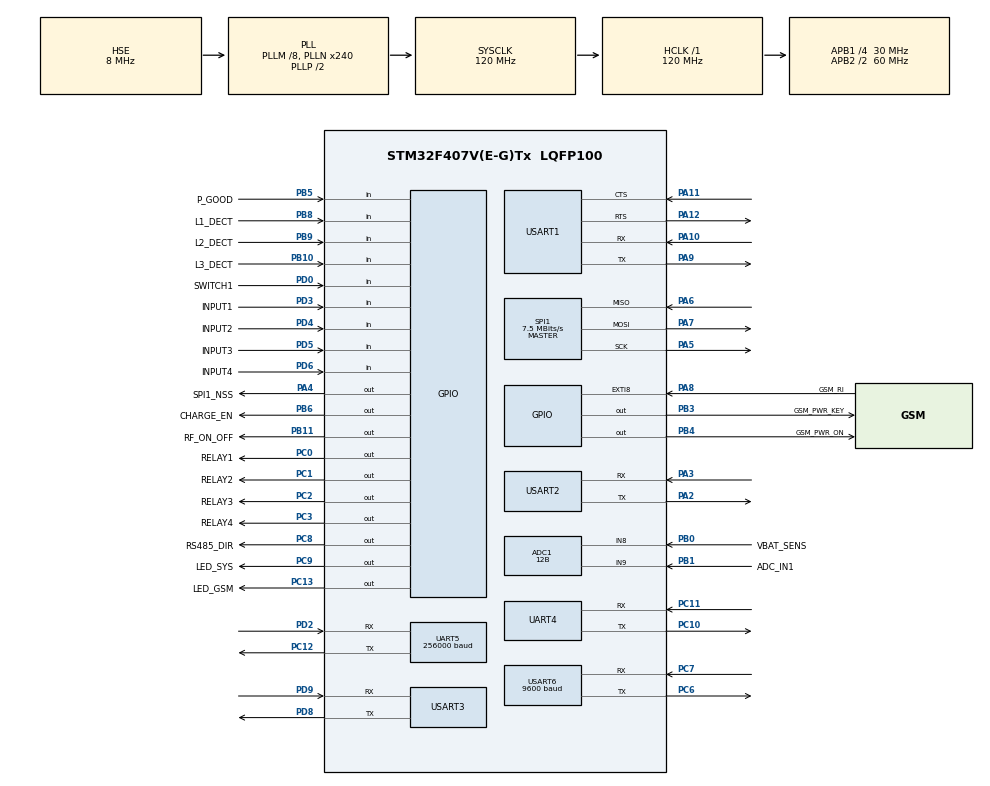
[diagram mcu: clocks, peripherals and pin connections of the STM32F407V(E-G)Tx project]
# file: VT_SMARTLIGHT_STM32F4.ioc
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ADC1.Channel-0\#ChannelRegularConversion=ADC_CHANNEL_8
ADC1.Channel-1\#ChannelRegularConversion=ADC_CHANNEL_8
ADC1.ClockPrescaler=ADC_CLOCK_SYNC_PCLK_DIV8
ADC1.ContinuousConvMode=ENABLE
ADC1.DMAContinuousRequests=ENABLE
ADC1.DataAlign=ADC_DATAALIGN_RIGHT
ADC1.DiscontinuousConvMode=DISABLE
ADC1.EOCSelection=ADC_EOC_SEQ_CONV
ADC1.EnableAnalogWatchDog=true
ADC1.ExternalTrigConv=ADC_SOFTWARE_START
ADC1.ExternalTrigConvEdge=ADC_EXTERNALTRIGCONVEDGE_NONE
ADC1.HighThreshold=0
ADC1.ITMode=DISABLE
ADC1.InjNumberOfConversion=0
ADC1.LowThreshold=0
ADC1.NbrOfConversion=2
ADC1.NbrOfConversionFlag=1
ADC1.Rank-0\#ChannelRegularConversion=1
ADC1.Rank-1\#ChannelRegularConversion=2
ADC1.Resolution=ADC_RESOLUTION_12B
ADC1.SamplingTime-0\#ChannelRegularConversion=ADC_SAMPLETIME_480CYCLES
ADC1.SamplingTime-1\#ChannelRegularConversion=ADC_SAMPLETIME_480CYCLES
ADC1.ScanConvMode=ENABLE
ADC1.WatchdogChannel=ADC_CHANNEL_8
ADC1.WatchdogMode=ADC_ANALOGWATCHDOG_SINGLE_REG
ADC1.master=1
Dma.ADC1.12.Direction=DMA_PERIPH_TO_MEMORY
Dma.ADC1.12.FIFOMode=DMA_FIFOMODE_DISABLE
Dma.ADC1.12.Instance=DMA2_Stream0
Dma.ADC1.12.MemDataAlignment=DMA_MDATAALIGN_HALFWORD
Dma.ADC1.12.MemInc=DMA_MINC_ENABLE
Dma.ADC1.12.Mode=DMA_NORMAL
Dma.ADC1.12.PeriphDataAlignment=DMA_PDATAALIGN_HALFWORD
Dma.ADC1.12.PeriphInc=DMA_PINC_DISABLE
Dma.ADC1.12.Priority=DMA_PRIORITY_LOW
Dma.Request0=UART4_RX
Dma.Request1=UART4_TX
Dma.Request10=USART6_RX
Dma.Request11=USART6_TX
Dma.Request12=ADC1
Dma.Request2=UART5_TX
Dma.Request3=UART5_RX
Dma.Request4=USART1_TX
Dma.Request5=USART1_RX
Dma.Request6=USART2_RX
Dma.Request7=USART2_TX
Dma.Request8=USART3_RX
Dma.Request9=USART3_TX
Dma.UART4_RX.0.Direction=DMA_PERIPH_TO_MEMORY
Dma.UART4_RX.0.FIFOMode=DMA_FIFOMODE_DISABLE
Dma.UART4_RX.0.Instance=DMA1_Stream2
Dma.UART4_RX.0.MemDataAlignment=DMA_MDATAALIGN_BYTE
Dma.UART4_RX.0.MemInc=DMA_MINC_ENABLE
Dma.UART4_RX.0.Mode=DMA_CIRCULAR
Dma.UART4_RX.0.PeriphDataAlignment=DMA_PDATAALIGN_BYTE
Dma.UART4_RX.0.PeriphInc=DMA_PINC_DISABLE
Dma.UART4_RX.0.Priority=DMA_PRIORITY_LOW
Dma.UART4_TX.1.Direction=DMA_MEMORY_TO_PERIPH
Dma.UART4_TX.1.FIFOMode=DMA_FIFOMODE_DISABLE
Dma.UART4_TX.1.Instance=DMA1_Stream4
Dma.UART4_TX.1.MemDataAlignment=DMA_MDATAALIGN_BYTE
Dma.UART4_TX.1.MemInc=DMA_MINC_ENABLE
Dma.UART4_TX.1.Mode=DMA_NORMAL
Dma.UART4_TX.1.PeriphDataAlignment=DMA_PDATAALIGN_BYTE
Dma.UART4_TX.1.PeriphInc=DMA_PINC_DISABLE
Dma.UART4_TX.1.Priority=DMA_PRIORITY_LOW
Dma.UART5_RX.3.Direction=DMA_PERIPH_TO_MEMORY
Dma.UART5_RX.3.FIFOMode=DMA_FIFOMODE_DISABLE
Dma.UART5_RX.3.Instance=DMA1_Stream0
Dma.UART5_RX.3.MemDataAlignment=DMA_MDATAALIGN_BYTE
Dma.UART5_RX.3.MemInc=DMA_MINC_ENABLE
Dma.UART5_RX.3.Mode=DMA_CIRCULAR
Dma.UART5_RX.3.PeriphDataAlignment=DMA_PDATAALIGN_BYTE
Dma.UART5_RX.3.PeriphInc=DMA_PINC_DISABLE
Dma.UART5_RX.3.Priority=DMA_PRIORITY_LOW
Dma.UART5_TX.2.Direction=DMA_MEMORY_TO_PERIPH
Dma.UART5_TX.2.FIFOMode=DMA_FIFOMODE_DISABLE
Dma.UART5_TX.2.Instance=DMA1_Stream7
Dma.UART5_TX.2.MemDataAlignment=DMA_MDATAALIGN_BYTE
Dma.UART5_TX.2.MemInc=DMA_MINC_ENABLE
Dma.UART5_TX.2.Mode=DMA_NORMAL
Dma.UART5_TX.2.PeriphDataAlignment=DMA_PDATAALIGN_BYTE
Dma.UART5_TX.2.PeriphInc=DMA_PINC_DISABLE
Dma.UART5_TX.2.Priority=DMA_PRIORITY_LOW
Dma.USART1_RX.5.Direction=DMA_PERIPH_TO_MEMORY
Dma.USART1_RX.5.FIFOMode=DMA_FIFOMODE_DISABLE
Dma.USART1_RX.5.Instance=DMA2_Stream2
Dma.USART1_RX.5.MemDataAlignment=DMA_MDATAALIGN_BYTE
Dma.USART1_RX.5.MemInc=DMA_MINC_ENABLE
Dma.USART1_RX.5.Mode=DMA_CIRCULAR
Dma.USART1_RX.5.PeriphDataAlignment=DMA_PDATAALIGN_BYTE
Dma.USART1_RX.5.PeriphInc=DMA_PINC_DISABLE
Dma.USART1_RX.5.Priority=DMA_PRIORITY_HIGH
Dma.USART1_TX.4.Direction=DMA_MEMORY_TO_PERIPH
Dma.USART1_TX.4.FIFOMode=DMA_FIFOMODE_DISABLE
Dma.USART1_TX.4.Instance=DMA2_Stream7
Dma.USART1_TX.4.MemDataAlignment=DMA_MDATAALIGN_BYTE
Dma.USART1_TX.4.MemInc=DMA_MINC_ENABLE
Dma.USART1_TX.4.Mode=DMA_NORMAL
Dma.USART1_TX.4.PeriphDataAlignment=DMA_PDATAALIGN_BYTE
Dma.USART1_TX.4.PeriphInc=DMA_PINC_DISABLE
Dma.USART1_TX.4.Priority=DMA_PRIORITY_HIGH
Dma.USART2_RX.6.Direction=DMA_PERIPH_TO_MEMORY
Dma.USART2_RX.6.FIFOMode=DMA_FIFOMODE_DISABLE
Dma.USART2_RX.6.Instance=DMA1_Stream5
Dma.USART2_RX.6.MemDataAlignment=DMA_MDATAALIGN_BYTE
Dma.USART2_RX.6.MemInc=DMA_MINC_ENABLE
Dma.USART2_RX.6.Mode=DMA_CIRCULAR
Dma.USART2_RX.6.PeriphDataAlignment=DMA_PDATAALIGN_BYTE
Dma.USART2_RX.6.PeriphInc=DMA_PINC_DISABLE
Dma.USART2_RX.6.Priority=DMA_PRIORITY_LOW
Dma.USART2_TX.7.Direction=DMA_MEMORY_TO_PERIPH
Dma.USART2_TX.7.FIFOMode=DMA_FIFOMODE_DISABLE
Dma.USART2_TX.7.Instance=DMA1_Stream6
Dma.USART2_TX.7.MemDataAlignment=DMA_MDATAALIGN_BYTE
Dma.USART2_TX.7.MemInc=DMA_MINC_ENABLE
Dma.USART2_TX.7.Mode=DMA_NORMAL
Dma.USART2_TX.7.PeriphDataAlignment=DMA_PDATAALIGN_BYTE
Dma.USART2_TX.7.PeriphInc=DMA_PINC_DISABLE
Dma.USART2_TX.7.Priority=DMA_PRIORITY_LOW
Dma.USART3_RX.8.Direction=DMA_PERIPH_TO_MEMORY
Dma.USART3_RX.8.FIFOMode=DMA_FIFOMODE_DISABLE
Dma.USART3_RX.8.Instance=DMA1_Stream1
Dma.USART3_RX.8.MemDataAlignment=DMA_MDATAALIGN_BYTE
Dma.USART3_RX.8.MemInc=DMA_MINC_ENABLE
Dma.USART3_RX.8.Mode=DMA_CIRCULAR
Dma.USART3_RX.8.PeriphDataAlignment=DMA_PDATAALIGN_BYTE
Dma.USART3_RX.8.PeriphInc=DMA_PINC_DISABLE
Dma.USART3_RX.8.Priority=DMA_PRIORITY_LOW
Dma.USART3_TX.9.Direction=DMA_MEMORY_TO_PERIPH
Dma.USART3_TX.9.FIFOMode=DMA_FIFOMODE_DISABLE
Dma.USART3_TX.9.Instance=DMA1_Stream3
Dma.USART3_TX.9.MemDataAlignment=DMA_MDATAALIGN_BYTE
Dma.USART3_TX.9.MemInc=DMA_MINC_ENABLE
Dma.USART3_TX.9.Mode=DMA_NORMAL
Dma.USART3_TX.9.PeriphDataAlignment=DMA_PDATAALIGN_BYTE
Dma.USART3_TX.9.PeriphInc=DMA_PINC_DISABLE
Dma.USART3_TX.9.Priority=DMA_PRIORITY_LOW
Dma.USART6_RX.10.Direction=DMA_PERIPH_TO_MEMORY
Dma.USART6_RX.10.FIFOMode=DMA_FIFOMODE_DISABLE
Dma.USART6_RX.10.Instance=DMA2_Stream1
Dma.USART6_RX.10.MemDataAlignment=DMA_MDATAALIGN_BYTE
Dma.USART6_RX.10.MemInc=DMA_MINC_ENABLE
Dma.USART6_RX.10.Mode=DMA_CIRCULAR
Dma.USART6_RX.10.PeriphDataAlignment=DMA_PDATAALIGN_BYTE
Dma.USART6_RX.10.PeriphInc=DMA_PINC_DISABLE
Dma.USART6_RX.10.Priority=DMA_PRIORITY_LOW
Dma.USART6_TX.11.Direction=DMA_MEMORY_TO_PERIPH
Dma.USART6_TX.11.FIFOMode=DMA_FIFOMODE_DISABLE
Dma.USART6_TX.11.Instance=DMA2_Stream6
Dma.USART6_TX.11.MemDataAlignment=DMA_MDATAALIGN_BYTE
Dma.USART6_TX.11.MemInc=DMA_MINC_ENABLE
Dma.USART6_TX.11.Mode=DMA_NORMAL
Dma.USART6_TX.11.PeriphDataAlignment=DMA_PDATAALIGN_BYTE
Dma.USART6_TX.11.PeriphInc=DMA_PINC_DISABLE
Dma.USART6_TX.11.Priority=DMA_PRIORITY_LOW
FREERTOS.INCLUDE_eTaskGetState=1
FREERTOS.INCLUDE_pcTaskGetTaskName=1
FREERTOS.INCLUDE_vTaskDelayUntil=1
FREERTOS.INCLUDE_xTaskGetCurrentTaskHandle=1
FREERTOS.Tasks01=defaultTask,0,1024,StartDefaultTask,Default,NULL,Dynamic,NULL,NULL
FREERTOS.configCHECK_FOR_STACK_OVERFLOW=2
FREERTOS.configGENERATE_RUN_TIME_STATS=1
FREERTOS.configTOTAL_HEAP_SIZE=63488
FREERTOS.configUSE_COUNTING_SEMAPHORES=1
FREERTOS.configUSE_IDLE_HOOK=1
FREERTOS.configUSE_MALLOC_FAILED_HOOK=1
FREERTOS.configUSE_RECURSIVE_MUTEXES=1
FREERTOS.configUSE_STATS_FORMATTING_FUNCTIONS=1
FREERTOS.configUSE_TICK_HOOK=1
FREERTOS.configUSE_TRACE_FACILITY=1
Mcu.Family=STM32F4
Mcu.Name=STM32F407V(E-G)Tx
Mcu.Package=LQFP100
Mcu.UserConstants=configAPPLICATION_ALLOCATED_HEAP,1
NVIC.DMA1_Stream0_IRQn=true\:5\:0\:false\:false\:true\:true\:false
NVIC.DMA1_Stream1_IRQn=true\:5\:0\:false\:false\:true\:true\:false
NVIC.DMA1_Stream2_IRQn=true\:5\:0\:false\:false\:true\:true\:false
NVIC.DMA1_Stream3_IRQn=true\:5\:0\:false\:false\:true\:true\:false
NVIC.DMA1_Stream4_IRQn=true\:5\:0\:false\:false\:true\:true\:false
NVIC.DMA1_Stream5_IRQn=true\:5\:0\:false\:false\:true\:true\:false
NVIC.DMA1_Stream6_IRQn=true\:5\:0\:false\:false\:true\:true\:false
NVIC.DMA1_Stream7_IRQn=true\:5\:0\:false\:false\:true\:true\:false
NVIC.DMA2_Stream0_IRQn=true\:5\:0\:false\:false\:true\:true\:false
NVIC.DMA2_Stream1_IRQn=true\:5\:0\:false\:false\:true\:true\:false
NVIC.DMA2_Stream2_IRQn=true\:5\:0\:false\:false\:true\:true\:false
NVIC.DMA2_Stream6_IRQn=true\:5\:0\:false\:false\:true\:true\:false
NVIC.DMA2_Stream7_IRQn=true\:5\:0\:false\:false\:true\:true\:false
NVIC.EXTI9_5_IRQn=true\:5\:0\:false\:false\:true\:true\:true
NVIC.PriorityGroup=NVIC_PRIORITYGROUP_4
NVIC.RTC_Alarm_IRQn=true\:0\:0\:false\:false\:true\:false\:true
NVIC.TIM1_UP_TIM10_IRQn=true\:0\:0\:false\:false\:true\:false\:false
NVIC.TimeBase=TIM1_UP_TIM10_IRQn
NVIC.TimeBaseIP=TIM1
NVIC.UART4_IRQn=true\:5\:0\:false\:false\:true\:true\:true
NVIC.UART5_IRQn=true\:5\:0\:false\:false\:true\:true\:true
NVIC.USART1_IRQn=true\:5\:0\:false\:false\:true\:true\:true
NVIC.USART2_IRQn=true\:5\:0\:false\:false\:true\:true\:true
NVIC.USART3_IRQn=true\:5\:0\:false\:false\:true\:true\:true
NVIC.USART6_IRQn=true\:5\:0\:false\:false\:true\:true\:true
PA10.Mode=Asynchronous
PA10.Signal=USART1_RX
PA11.Mode=CTS_RTS
PA11.Signal=USART1_CTS
PA12.Mode=CTS_RTS
PA12.Signal=USART1_RTS
PA13.Mode=Serial_Wire
PA13.Signal=SYS_JTMS-SWDIO
PA14.Mode=Serial_Wire
PA14.Signal=SYS_JTCK-SWCLK
PA2.Mode=Asynchronous
PA2.Signal=USART2_TX
PA3.Mode=Asynchronous
PA3.Signal=USART2_RX
PA4.GPIO_Label=SPI1_NSS
PA4.GPIO_Speed=GPIO_SPEED_FREQ_VERY_HIGH
PA4.PinState=GPIO_PIN_SET
PA4.Signal=GPIO_Output
PA5.Mode=Full_Duplex_Master
PA5.Signal=SPI1_SCK
PA6.GPIO_PuPd=GPIO_PULLUP
PA6.Mode=Full_Duplex_Master
PA6.Signal=SPI1_MISO
PA7.Mode=Full_Duplex_Master
PA7.Signal=SPI1_MOSI
PA8.GPIO_Label=GSM_RI
PA8.GPIO_ModeDefaultEXTI=GPIO_MODE_IT_FALLING
PA8.GPIO_PuPd=GPIO_PULLUP
PA8.Signal=GPXTI8
PA9.Mode=Asynchronous
PA9.Signal=USART1_TX
PB0.GPIO_Label=VBAT_SENS
PB0.Signal=ADCx_IN8
PB1.GPIO_Label=ADC_IN1
PB1.Signal=ADCx_IN9
PB10.GPIO_Label=L3_DECT
PB10.Signal=GPIO_Input
PB11.GPIO_Label=RF_ON_OFF
PB11.Signal=GPIO_Output
PB3.GPIO_Label=GSM_PWR_KEY
PB3.Signal=GPIO_Output
PB4.GPIO_Label=GSM_PWR_ON
PB4.PinState=GPIO_PIN_SET
PB4.Signal=GPIO_Output
PB5.GPIO_Label=P_GOOD
PB5.Signal=GPIO_Input
PB6.GPIO_Label=CHARGE_EN
PB6.Signal=GPIO_Output
PB8.GPIO_Label=L1_DECT
PB8.Signal=GPIO_Input
PB9.GPIO_Label=L2_DECT
PB9.Signal=GPIO_Input
PC0.GPIO_Label=RELAY1
PC0.Signal=GPIO_Output
PC1.GPIO_Label=RELAY2
PC1.Signal=GPIO_Output
PC10.Mode=Asynchronous
PC10.Signal=UART4_TX
PC11.Mode=Asynchronous
PC11.Signal=UART4_RX
PC12.Mode=Asynchronous
PC12.Signal=UART5_TX
PC13-ANTI_TAMP.GPIO_Label=LED_GSM
PC13-ANTI_TAMP.Signal=GPIO_Output
PC14-OSC32_IN.Mode=LSE-External-Oscillator
PC14-OSC32_IN.Signal=RCC_OSC32_IN
PC15-OSC32_OUT.Mode=LSE-External-Oscillator
PC15-OSC32_OUT.Signal=RCC_OSC32_OUT
PC2.GPIO_Label=RELAY3
PC2.Signal=GPIO_Output
PC3.GPIO_Label=RELAY4
PC3.Signal=GPIO_Output
PC6.Mode=Asynchronous
PC6.Signal=USART6_TX
PC7.Mode=Asynchronous
PC7.Signal=USART6_RX
PC8.GPIO_Label=RS485_DIR
PC8.Signal=GPIO_Output
PC9.GPIO_Label=LED_SYS
PC9.Signal=GPIO_Output
PD0.GPIO_Label=SWITCH1
PD0.Signal=GPIO_Input
PD2.Mode=Asynchronous
PD2.Signal=UART5_RX
PD3.GPIO_Label=INPUT1
PD3.Signal=GPIO_Input
PD4.GPIO_Label=INPUT2
PD4.Signal=GPIO_Input
PD5.GPIO_Label=INPUT3
PD5.Signal=GPIO_Input
PD6.GPIO_Label=INPUT4
PD6.Signal=GPIO_Input
PD8.Mode=Asynchronous
PD8.Signal=USART3_TX
PD9.Mode=Asynchronous
PD9.Signal=USART3_RX
PH0-OSC_IN.Mode=HSE-External-Oscillator
PH0-OSC_IN.Signal=RCC_OSC_IN
PH1-OSC_OUT.Mode=HSE-External-Oscillator
PH1-OSC_OUT.Signal=RCC_OSC_OUT
ProjectManager.HeapSize=0x10000
ProjectManager.StackSize=0x1000
ProjectManager.TargetToolchain=MDK-ARM V5
RCC.48MHZClocksFreq_Value=48000000
RCC.AHBFreq_Value=120000000
RCC.APB1CLKDivider=RCC_HCLK_DIV4
RCC.APB1Freq_Value=30000000
RCC.APB1TimFreq_Value=60000000
RCC.APB2CLKDivider=RCC_HCLK_DIV2
RCC.APB2Freq_Value=60000000
RCC.APB2TimFreq_Value=120000000
RCC.CortexFreq_Value=120000000
RCC.HCLKFreq_Value=120000000
RCC.HSE_VALUE=8000000
RCC.HSI_VALUE=16000000
RCC.PLLM=8
RCC.PLLN=240
RCC.PLLQ=5
RCC.PLLSourceVirtual=RCC_PLLSOURCE_HSE
RCC.RCC_RTC_Clock_Source=RCC_RTCCLKSOURCE_LSE
RCC.RCC_RTC_Clock_SourceVirtual=RCC_RTCCLKSOURCE_LSE
RCC.SYSCLKFreq_VALUE=120000000
RCC.SYSCLKSource=RCC_SYSCLKSOURCE_PLLCLK
RCC.VCOOutputFreq_Value=240000000
RTC.Alarm=RTC_ALARM_A
RTC.Date=9
RTC.Format=RTC_FORMAT_BIN
RTC.Month=RTC_MONTH_NOVEMBER
RTC.WeekDay=RTC_WEEKDAY_THURSDAY
RTC.Year=17
SH.ADCx_IN8.0=ADC1_IN8,IN8
SH.ADCx_IN9.0=ADC1_IN9,IN9
SPI1.BaudRatePrescaler=SPI_BAUDRATEPRESCALER_8
SPI1.CalculateBaudRate=7.5 MBits/s
SPI1.Direction=SPI_DIRECTION_2LINES
SPI1.Mode=SPI_MODE_MASTER
SPI1.VirtualType=VM_MASTER
UART4.VirtualMode=Asynchronous
UART5.BaudRate=256000
UART5.VirtualMode=Asynchronous
USART1.VirtualMode=VM_ASYNC
USART2.VirtualMode=VM_ASYNC
USART3.VirtualMode=VM_ASYNC
USART6.BaudRate=9600
USART6.VirtualMode=VM_ASYNC
VP_FREERTOS_VS_ENABLE.Mode=Enabled
VP_IWDG_VS_IWDG.Mode=IWDG_Activate
VP_RNG_VS_RNG.Mode=RNG_Activate
VP_RTC_VS_RTC_Activate.Mode=RTC_Enabled
VP_RTC_VS_RTC_Alarm_A_Intern.Mode=Alarm A
VP_RTC_VS_RTC_Calendar.Mode=RTC_Calendar
VP_SYS_VS_tim1.Mode=TIM1
board=VT_SMARTLIGHT_STM32F4

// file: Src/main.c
/**
  ******************************************************************************
  * File Name          : main.c
  * Description        : Main program body
  ******************************************************************************
  * This notice applies to any and all portions of this file
  * that are not between comment pairs USER CODE BEGIN and
  * USER CODE END. Other portions of this file, whether
  * inserted by the user or by software development tools
  * are owned by their respective copyright owners.
  *
  * Copyright (c) 2018 STMicroelectronics International N.V.
  * All rights reserved.
  *
  * Redistribution and use in source and binary forms, with or without
  * modification, are permitted, provided that the following conditions are met:
  *
  * 1. Redistribution of source code must retain the above copyright notice,
  *    this list of conditions and the following disclaimer.
  * 2. Redistributions in binary form must reproduce the above copyright notice,
  *    this list of conditions and the following disclaimer in the documentation
  *    and/or other materials provided with the distribution.
  * 3. Neither the name of STMicroelectronics nor the names of other
  *    contributors to this software may be used to endorse or promote products
  *    derived from this software without specific written permission.
  * 4. This software, including modifications and/or derivative works of this
  *    software, must execute solely and exclusively on microcontroller or
  *    microprocessor devices manufactured by or for STMicroelectronics.
  * 5. Redistribution and use of this software other than as permitted under
  *    this license is void and will automatically terminate your rights under
  *    this license.
  *
  * THIS SOFTWARE IS PROVIDED BY STMICROELECTRONICS AND CONTRIBUTORS "AS IS"
  * AND ANY EXPRESS, IMPLIED OR STATUTORY WARRANTIES, INCLUDING, BUT NOT
  * LIMITED TO, THE IMPLIED WARRANTIES OF MERCHANTABILITY, FITNESS FOR A
  * PARTICULAR PURPOSE AND NON-INFRINGEMENT OF THIRD PARTY INTELLECTUAL PROPERTY
  * RIGHTS ARE DISCLAIMED TO THE FULLEST EXTENT PERMITTED BY LAW. IN NO EVENT
  * SHALL STMICROELECTRONICS OR CONTRIBUTORS BE LIABLE FOR ANY DIRECT, INDIRECT,
  * INCIDENTAL, SPECIAL, EXEMPLARY, OR CONSEQUENTIAL DAMAGES (INCLUDING, BUT NOT
  * LIMITED TO, PROCUREMENT OF SUBSTITUTE GOODS OR SERVICES; LOSS OF USE, DATA,
  * OR PROFITS; OR BUSINESS INTERRUPTION) HOWEVER CAUSED AND ON ANY THEORY OF
  * LIABILITY, WHETHER IN CONTRACT, STRICT LIABILITY, OR TORT (INCLUDING
  * NEGLIGENCE OR OTHERWISE) ARISING IN ANY WAY OUT OF THE USE OF THIS SOFTWARE,
  * EVEN IF ADVISED OF THE POSSIBILITY OF SUCH DAMAGE.
  *
  ******************************************************************************
  */

#include "main.h"
#include "stm32f4xx_hal.h"
#include "cmsis_os.h"

/* USER CODE BEGIN Includes */
#include "uart1.h"
#include "uart5.h"
#include "lib/sys_time.h"
#include "system_config.h"
#include "ampm_gsm_main_task.h"
#include "hw_config.h"
#include "lib/sys_time.h"
#include "ntp_server.h"
#include "smartlight.h"
/* FreeRTOS+Trace includes. */
#include "trcUser.h"
#include "watchdog.h"
#include "sha256.h"
#include "relay.h"
#include "led.h"
#include "test_spiffs.h"
#include "uart_config_task.h"
/* USER CODE END Includes */

ADC_HandleTypeDef hadc1;
DMA_HandleTypeDef hdma_adc1;

IWDG_HandleTypeDef hiwdg;

RNG_HandleTypeDef hrng;

RTC_HandleTypeDef hrtc;
RTC_TimeTypeDef sTime;
RTC_DateTypeDef sDate;

SPI_HandleTypeDef hspi1;

UART_HandleTypeDef huart4;
UART_HandleTypeDef huart5;
UART_HandleTypeDef huart1;
UART_HandleTypeDef huart2;
UART_HandleTypeDef huart3;
UART_HandleTypeDef huart6;
DMA_HandleTypeDef hdma_uart4_rx;
DMA_HandleTypeDef hdma_uart4_tx;
DMA_HandleTypeDef hdma_uart5_tx;
DMA_HandleTypeDef hdma_uart5_rx;
DMA_HandleTypeDef hdma_usart1_tx;
DMA_HandleTypeDef hdma_usart1_rx;
DMA_HandleTypeDef hdma_usart2_rx;
DMA_HandleTypeDef hdma_usart2_tx;
DMA_HandleTypeDef hdma_usart3_rx;
DMA_HandleTypeDef hdma_usart3_tx;
DMA_HandleTypeDef hdma_usart6_rx;
DMA_HandleTypeDef hdma_usart6_tx;

osThreadId defaultTaskHandle;

/* USER CODE BEGIN PV */
/* Private variables ---------------------------------------------------------*/
osSemaphoreDef(PUTC);
osSemaphoreDef(PRINTF);
osSemaphoreDef(AWS_SYNC);
/* USER CODE END PV */

void SystemClock_Config(void);
static void MX_GPIO_Init(void);
static void MX_DMA_Init(void);
static void MX_ADC1_Init(void);
static void MX_IWDG_Init(void);
static void MX_RNG_Init(void);
static void MX_RTC_Init(void);
static void MX_UART4_Init(void);
static void MX_UART5_Init(void);
static void MX_USART1_UART_Init(void);
static void MX_USART2_UART_Init(void);
static void MX_USART3_UART_Init(void);
static void MX_USART6_UART_Init(void);
static void MX_SPI1_Init(void);
void StartDefaultTask(void const * argument);

/* USER CODE BEGIN PFP */
extern void vUARTCommandConsoleStart( uint16_t usStackSize, UBaseType_t uxPriority );
extern void vRegisterCLICommands( void );
/* Private function prototypes -----------------------------------------------*/
uint8_t ucHeap[ configTOTAL_HEAP_SIZE ] __attribute__ ((__section__("osRam")));
osSemaphoreId putc_sem_id;
osSemaphoreId mprintf_sem_id;
osSemaphoreId aws_sem_id;
uint32_t life_span = 0;

int fputc_stdout( int iChar, FILE *f )
{
		if(f == stdout)
		{
			if(osSemaphoreWait(putc_sem_id, 100) == osOK)
			{
				if(!uart5_config_enable)
					mUART5_PutChar(iChar);
			}
			osSemaphoreRelease(putc_sem_id);
		}
  	return( iChar );
}

//int  m_printf(const uint8_t *format, ...)
//{
//	if(osSemaphoreWait(mprintf_sem_id, 500) == osOK)
//	{
//		static  uint8_t  buffer[512];
//		uint16_t len = 0,i;
//		__va_list     vArgs;
//		__va_start(vArgs, format);
//		len = sprintf((char *)buffer,"\n\rUTC:%04d/%02d/%02d %02d:%02d:%02d #",sysTime.year,sysTime.month,sysTime.mday,sysTime.hour,sysTime.min,sysTime.sec);
//		len += vsprintf((char *)&buffer[len], (char const *)format, vArgs);
//		__va_end(vArgs);
//		for(i = 0;i < len; i++)
//		{
//				fputc(buffer[i],NULL);
//		}
//	}
//	osSemaphoreRelease(mprintf_sem_id);
//	return 0;
//}

void aws_task_lock(void)
{
    osSemaphoreWait(aws_sem_id, osWaitForever);
}
void aws_task_unlock(void)
{
  osSemaphoreRelease(aws_sem_id);
}

/* USER CODE END PFP */

/* USER CODE BEGIN 0 */
/**
  * @brief  Display the current time and date.
  * @param  showtime : pointer to buffer
  * @param  showdate : pointer to buffer
  * @retval None
  */

/* USER CODE END 0 */

int main(void)
{

  /* USER CODE BEGIN 1 */
//	while(1);
	if(variableNoInit.ramOk != 0xA5A5A5A5)
	{
		variableNoInit.deviceStatus = 0;
		variableNoInit.lineStatus = 0;
	}
	variableNoInit.ramOk = 0xA5A5A5A5;
  /* USER CODE END 1 */

  /* MCU Configuration----------------------------------------------------------*/

  /* Reset of all peripherals, Initializes the Flash interface and the Systick. */
  HAL_Init();

  /* Configure the system clock */
  SystemClock_Config();

  /* Initialize all configured peripherals */
  MX_GPIO_Init();
  MX_DMA_Init();
  MX_ADC1_Init();
  MX_IWDG_Init();
  MX_RNG_Init();
  MX_RTC_Init();
  MX_UART4_Init();
  MX_UART5_Init();
  MX_USART1_UART_Init();
  MX_USART2_UART_Init();
  MX_USART3_UART_Init();
  MX_USART6_UART_Init();
  MX_SPI1_Init();

  /* USER CODE BEGIN 2 */
	HAL_Delay(1000);
	CFG_Init();
	SysTimeSetup();
	CFG_Load();
	SysWatchdogInit();
	relay_init();

  /* USER CODE END 2 */

  /* USER CODE BEGIN RTOS_SEMAPHORES */
  /* add semaphores, ... */
	putc_sem_id = osSemaphoreCreate(osSemaphore(PUTC), 1);
	mprintf_sem_id = osSemaphoreCreate(osSemaphore(PRINTF), 1);
	aws_sem_id = osSemaphoreCreate(osSemaphore(AWS_SYNC), 1);
	osSemaphoreWait(aws_sem_id, 0);
  /* USER CODE END RTOS_SEMAPHORES */

  /* USER CODE BEGIN RTOS_TIMERS */
	#if TRACE_ENABLE
	vTraceInitTraceData();
	#endif
  /* start timers, add new ones, ... */
  /* USER CODE END RTOS_TIMERS */

  /* Create the thread(s) */
  /* definition and creation of defaultTask */
  osThreadDef(defaultTask, StartDefaultTask, osPriorityNormal, 0, 1024);
  defaultTaskHandle = osThreadCreate(osThread(defaultTask), NULL);

  /* USER CODE BEGIN RTOS_THREADS */
  /* add threads, ... */
	#if TRACE_ENABLE
  vUARTCommandConsoleStart( configMINIMAL_STACK_SIZE * 3UL, tskIDLE_PRIORITY + 0);
	/* Register the standard CLI commands. */
	vRegisterCLICommands();
	#endif
  /* USER CODE END RTOS_THREADS */

  /* Start scheduler */
  osKernelStart();

  /* We should never get here as control is now taken by the scheduler */

  /* Infinite loop */
  while (1)
  {

  }

}

/** System Clock Configuration
*/
void SystemClock_Config(void)
{

  RCC_OscInitTypeDef RCC_OscInitStruct;
  RCC_ClkInitTypeDef RCC_ClkInitStruct;
  RCC_PeriphCLKInitTypeDef PeriphClkInitStruct;

    /**Configure the main internal regulator output voltage
    */
  __HAL_RCC_PWR_CLK_ENABLE();

  __HAL_PWR_VOLTAGESCALING_CONFIG(PWR_REGULATOR_VOLTAGE_SCALE1);

    /**Initializes the CPU, AHB and APB busses clocks
    */
  RCC_OscInitStruct.OscillatorType = RCC_OSCILLATORTYPE_LSI|RCC_OSCILLATORTYPE_HSE
                              |RCC_OSCILLATORTYPE_LSE;
  RCC_OscInitStruct.HSEState = RCC_HSE_ON;
  RCC_OscInitStruct.LSEState = RCC_LSE_ON;
  RCC_OscInitStruct.LSIState = RCC_LSI_ON;
  RCC_OscInitStruct.PLL.PLLState = RCC_PLL_ON;
  RCC_OscInitStruct.PLL.PLLSource = RCC_PLLSOURCE_HSE;
  RCC_OscInitStruct.PLL.PLLM = 8;
  RCC_OscInitStruct.PLL.PLLN = 240;
  RCC_OscInitStruct.PLL.PLLP = RCC_PLLP_DIV2;
  RCC_OscInitStruct.PLL.PLLQ = 5;
  if (HAL_RCC_OscConfig(&RCC_OscInitStruct) != HAL_OK)
  {
    _Error_Handler(__FILE__, __LINE__);
  }

    /**Initializes the CPU, AHB and APB busses clocks
    */
  RCC_ClkInitStruct.ClockType = RCC_CLOCKTYPE_HCLK|RCC_CLOCKTYPE_SYSCLK
                              |RCC_CLOCKTYPE_PCLK1|RCC_CLOCKTYPE_PCLK2;
  RCC_ClkInitStruct.SYSCLKSource = RCC_SYSCLKSOURCE_PLLCLK;
  RCC_ClkInitStruct.AHBCLKDivider = RCC_SYSCLK_DIV1;
  RCC_ClkInitStruct.APB1CLKDivider = RCC_HCLK_DIV4;
  RCC_ClkInitStruct.APB2CLKDivider = RCC_HCLK_DIV2;

  if (HAL_RCC_ClockConfig(&RCC_ClkInitStruct, FLASH_LATENCY_3) != HAL_OK)
  {
    _Error_Handler(__FILE__, __LINE__);
  }

  PeriphClkInitStruct.PeriphClockSelection = RCC_PERIPHCLK_RTC;
  PeriphClkInitStruct.RTCClockSelection = RCC_RTCCLKSOURCE_LSE;
  if (HAL_RCCEx_PeriphCLKConfig(&PeriphClkInitStruct) != HAL_OK)
  {
    _Error_Handler(__FILE__, __LINE__);
  }

    /**Configure the Systick interrupt time
    */
  HAL_SYSTICK_Config(HAL_RCC_GetHCLKFreq()/1000);

    /**Configure the Systick
    */
  HAL_SYSTICK_CLKSourceConfig(SYSTICK_CLKSOURCE_HCLK);

  /* SysTick_IRQn interrupt configuration */
  HAL_NVIC_SetPriority(SysTick_IRQn, 15, 0);
}

/* ADC1 init function */
static void MX_ADC1_Init(void)
{

  ADC_AnalogWDGConfTypeDef AnalogWDGConfig;
  ADC_ChannelConfTypeDef sConfig;

    /**Configure the global features of the ADC (Clock, Resolution, Data Alignment and number of conversion)
    */
  hadc1.Instance = ADC1;
  hadc1.Init.ClockPrescaler = ADC_CLOCK_SYNC_PCLK_DIV8;
  hadc1.Init.Resolution = ADC_RESOLUTION_12B;
  hadc1.Init.ScanConvMode = ENABLE;
  hadc1.Init.ContinuousConvMode = ENABLE;
  hadc1.Init.DiscontinuousConvMode = DISABLE;
  hadc1.Init.ExternalTrigConvEdge = ADC_EXTERNALTRIGCONVEDGE_NONE;
  hadc1.Init.ExternalTrigConv = ADC_SOFTWARE_START;
  hadc1.Init.DataAlign = ADC_DATAALIGN_RIGHT;
  hadc1.Init.NbrOfConversion = 2;
  hadc1.Init.DMAContinuousRequests = ENABLE;
  hadc1.Init.EOCSelection = ADC_EOC_SEQ_CONV;
  if (HAL_ADC_Init(&hadc1) != HAL_OK)
  {
    _Error_Handler(__FILE__, __LINE__);
  }

    /**Configure the analog watchdog
    */
  AnalogWDGConfig.WatchdogMode = ADC_ANALOGWATCHDOG_SINGLE_REG;
  AnalogWDGConfig.HighThreshold = 0;
  AnalogWDGConfig.LowThreshold = 0;
  AnalogWDGConfig.Channel = ADC_CHANNEL_8;
  AnalogWDGConfig.ITMode = DISABLE;
  if (HAL_ADC_AnalogWDGConfig(&hadc1, &AnalogWDGConfig) != HAL_OK)
  {
    _Error_Handler(__FILE__, __LINE__);
  }

    /**Configure for the selected ADC regular channel its corresponding rank in the sequencer and its sample time.
    */
  sConfig.Channel = ADC_CHANNEL_8;
  sConfig.Rank = 1;
  sConfig.SamplingTime = ADC_SAMPLETIME_480CYCLES;
  if (HAL_ADC_ConfigChannel(&hadc1, &sConfig) != HAL_OK)
  {
    _Error_Handler(__FILE__, __LINE__);
  }

    /**Configure for the selected ADC regular channel its corresponding rank in the sequencer and its sample time.
    */
  sConfig.Rank = 2;
  if (HAL_ADC_ConfigChannel(&hadc1, &sConfig) != HAL_OK)
  {
    _Error_Handler(__FILE__, __LINE__);
  }

}

/* IWDG init function */
static void MX_IWDG_Init(void)
{

  hiwdg.Instance = IWDG;
  hiwdg.Init.Prescaler = IWDG_PRESCALER_4;
  hiwdg.Init.Reload = 4095;
  if (HAL_IWDG_Init(&hiwdg) != HAL_OK)
  {
    _Error_Handler(__FILE__, __LINE__);
  }

}

/* RNG init function */
static void MX_RNG_Init(void)
{

  hrng.Instance = RNG;
  if (HAL_RNG_Init(&hrng) != HAL_OK)
  {
    _Error_Handler(__FILE__, __LINE__);
  }

}

/* RTC init function */
static void MX_RTC_Init(void)
{

    /**Initialize RTC Only
    */
  hrtc.Instance = RTC;
  hrtc.Init.HourFormat = RTC_HOURFORMAT_24;
  hrtc.Init.AsynchPrediv = 127;
  hrtc.Init.SynchPrediv = 255;
  hrtc.Init.OutPut = RTC_OUTPUT_DISABLE;
  hrtc.Init.OutPutPolarity = RTC_OUTPUT_POLARITY_HIGH;
  hrtc.Init.OutPutType = RTC_OUTPUT_TYPE_OPENDRAIN;
  if (HAL_RTC_Init(&hrtc) != HAL_OK)
  {
    _Error_Handler(__FILE__, __LINE__);
  }

    /**Initialize RTC and set the Time and Date
    */
  if(HAL_RTCEx_BKUPRead(&hrtc, RTC_BKP_DR0) != 0x32F2){
  if (HAL_RTC_SetTime(&hrtc, &sTime, RTC_FORMAT_BIN) != HAL_OK)
  {
    _Error_Handler(__FILE__, __LINE__);
  }

  if (HAL_RTC_SetDate(&hrtc, &sDate, RTC_FORMAT_BIN) != HAL_OK)
  {
    _Error_Handler(__FILE__, __LINE__);
  }

    HAL_RTCEx_BKUPWrite(&hrtc,RTC_BKP_DR0,0x32F2);
  }
    /**Enable the Alarm A
    */
//  sAlarm.AlarmTime.Hours = 0x0;
//  sAlarm.AlarmTime.Minutes = 0x0;
//  sAlarm.AlarmTime.Seconds = 0x0;
//  sAlarm.AlarmTime.SubSeconds = 0x0;
//  sAlarm.AlarmTime.DayLightSaving = RTC_DAYLIGHTSAVING_NONE;
//  sAlarm.AlarmTime.StoreOperation = RTC_STOREOPERATION_RESET;
//  sAlarm.AlarmMask = RTC_ALARMMASK_SECONDS;
//  sAlarm.AlarmSubSecondMask = RTC_ALARMSUBSECONDMASK_ALL;
//  sAlarm.AlarmDateWeekDaySel = RTC_ALARMDATEWEEKDAYSEL_DATE;
//  sAlarm.AlarmDateWeekDay = 0x1;
//  sAlarm.Alarm = RTC_ALARM_A;
//  if (HAL_RTC_SetAlarm_IT(&hrtc, &sAlarm, RTC_FORMAT_BIN) != HAL_OK)
//  {
//    _Error_Handler(__FILE__, __LINE__);
//  }

}

/* SPI1 init function */
static void MX_SPI1_Init(void)
{

  /* SPI1 parameter configuration*/
  hspi1.Instance = SPI1;
  hspi1.Init.Mode = SPI_MODE_MASTER;
  hspi1.Init.Direction = SPI_DIRECTION_2LINES;
  hspi1.Init.DataSize = SPI_DATASIZE_8BIT;
  hspi1.Init.CLKPolarity = SPI_POLARITY_LOW;
  hspi1.Init.CLKPhase = SPI_PHASE_1EDGE;
  hspi1.Init.NSS = SPI_NSS_SOFT;
  hspi1.Init.BaudRatePrescaler = SPI_BAUDRATEPRESCALER_8;
  hspi1.Init.FirstBit = SPI_FIRSTBIT_MSB;
  hspi1.Init.TIMode = SPI_TIMODE_DISABLE;
  hspi1.Init.CRCCalculation = SPI_CRCCALCULATION_DISABLE;
  hspi1.Init.CRCPolynomial = 10;
  if (HAL_SPI_Init(&hspi1) != HAL_OK)
  {
    _Error_Handler(__FILE__, __LINE__);
  }

}

/* UART4 init function */
static void MX_UART4_Init(void)
{

  huart4.Instance = UART4;
  huart4.Init.BaudRate = 115200;
  huart4.Init.WordLength = UART_WORDLENGTH_8B;
  huart4.Init.StopBits = UART_STOPBITS_1;
  huart4.Init.Parity = UART_PARITY_NONE;
  huart4.Init.Mode = UART_MODE_TX_RX;
  huart4.Init.HwFlowCtl = UART_HWCONTROL_NONE;
  huart4.Init.OverSampling = UART_OVERSAMPLING_16;
  if (HAL_UART_Init(&huart4) != HAL_OK)
  {
    _Error_Handler(__FILE__, __LINE__);
  }

}

/* UART5 init function */
static void MX_UART5_Init(void)
{

  huart5.Instance = UART5;
  huart5.Init.BaudRate = 256000;
  huart5.Init.WordLength = UART_WORDLENGTH_8B;
  huart5.Init.StopBits = UART_STOPBITS_1;
  huart5.Init.Parity = UART_PARITY_NONE;
  huart5.Init.Mode = UART_MODE_TX_RX;
  huart5.Init.HwFlowCtl = UART_HWCONTROL_NONE;
  huart5.Init.OverSampling = UART_OVERSAMPLING_16;
  if (HAL_UART_Init(&huart5) != HAL_OK)
  {
    _Error_Handler(__FILE__, __LINE__);
  }

}

/* USART1 init function */
static void MX_USART1_UART_Init(void)
{

  huart1.Instance = USART1;
  huart1.Init.BaudRate = 115200;
  huart1.Init.WordLength = UART_WORDLENGTH_8B;
  huart1.Init.StopBits = UART_STOPBITS_1;
  huart1.Init.Parity = UART_PARITY_NONE;
  huart1.Init.Mode = UART_MODE_TX_RX;
  huart1.Init.HwFlowCtl = UART_HWCONTROL_RTS_CTS;
  huart1.Init.OverSampling = UART_OVERSAMPLING_16;
  if (HAL_UART_Init(&huart1) != HAL_OK)
  {
    _Error_Handler(__FILE__, __LINE__);
  }

}

/* USART2 init function */
static void MX_USART2_UART_Init(void)
{

  huart2.Instance = USART2;
  huart2.Init.BaudRate = 115200;
  huart2.Init.WordLength = UART_WORDLENGTH_8B;
  huart2.Init.StopBits = UART_STOPBITS_1;
  huart2.Init.Parity = UART_PARITY_NONE;
  huart2.Init.Mode = UART_MODE_TX_RX;
  huart2.Init.HwFlowCtl = UART_HWCONTROL_NONE;
  huart2.Init.OverSampling = UART_OVERSAMPLING_16;
  if (HAL_UART_Init(&huart2) != HAL_OK)
  {
    _Error_Handler(__FILE__, __LINE__);
  }

}

/* USART3 init function */
static void MX_USART3_UART_Init(void)
{

  huart3.Instance = USART3;
  huart3.Init.BaudRate = 115200;
  huart3.Init.WordLength = UART_WORDLENGTH_8B;
  huart3.Init.StopBits = UART_STOPBITS_1;
  huart3.Init.Parity = UART_PARITY_NONE;
  huart3.Init.Mode = UART_MODE_TX_RX;
  huart3.Init.HwFlowCtl = UART_HWCONTROL_NONE;
  huart3.Init.OverSampling = UART_OVERSAMPLING_16;
  if (HAL_UART_Init(&huart3) != HAL_OK)
  {
    _Error_Handler(__FILE__, __LINE__);
  }

}

/* USART6 init function */
static void MX_USART6_UART_Init(void)
{

  huart6.Instance = USART6;
  huart6.Init.BaudRate = 9600;
  huart6.Init.WordLength = UART_WORDLENGTH_8B;
  huart6.Init.StopBits = UART_STOPBITS_1;
  huart6.Init.Parity = UART_PARITY_NONE;
  huart6.Init.Mode = UART_MODE_TX_RX;
  huart6.Init.HwFlowCtl = UART_HWCONTROL_NONE;
  huart6.Init.OverSampling = UART_OVERSAMPLING_16;
  if (HAL_UART_Init(&huart6) != HAL_OK)
  {
    _Error_Handler(__FILE__, __LINE__);
  }

}

static void MX_DMA_Init(void)
{
  /* DMA controller clock enable */
  __HAL_RCC_DMA1_CLK_ENABLE();
  __HAL_RCC_DMA2_CLK_ENABLE();

  /* DMA interrupt init */
  /* DMA1_Stream0_IRQn interrupt configuration */
  HAL_NVIC_SetPriority(DMA1_Stream0_IRQn, 5, 0);
  HAL_NVIC_EnableIRQ(DMA1_Stream0_IRQn);
  /* DMA1_Stream1_IRQn interrupt configuration */
  HAL_NVIC_SetPriority(DMA1_Stream1_IRQn, 5, 0);
  HAL_NVIC_EnableIRQ(DMA1_Stream1_IRQn);
  /* DMA1_Stream2_IRQn interrupt configuration */
  HAL_NVIC_SetPriority(DMA1_Stream2_IRQn, 5, 0);
  HAL_NVIC_EnableIRQ(DMA1_Stream2_IRQn);
  /* DMA1_Stream3_IRQn interrupt configuration */
  HAL_NVIC_SetPriority(DMA1_Stream3_IRQn, 5, 0);
  HAL_NVIC_EnableIRQ(DMA1_Stream3_IRQn);
  /* DMA1_Stream4_IRQn interrupt configuration */
  HAL_NVIC_SetPriority(DMA1_Stream4_IRQn, 5, 0);
  HAL_NVIC_EnableIRQ(DMA1_Stream4_IRQn);
  /* DMA1_Stream5_IRQn interrupt configuration */
  HAL_NVIC_SetPriority(DMA1_Stream5_IRQn, 5, 0);
  HAL_NVIC_EnableIRQ(DMA1_Stream5_IRQn);
  /* DMA1_Stream6_IRQn interrupt configuration */
  HAL_NVIC_SetPriority(DMA1_Stream6_IRQn, 5, 0);
  HAL_NVIC_EnableIRQ(DMA1_Stream6_IRQn);
  /* DMA1_Stream7_IRQn interrupt configuration */
  HAL_NVIC_SetPriority(DMA1_Stream7_IRQn, 5, 0);
  HAL_NVIC_EnableIRQ(DMA1_Stream7_IRQn);
  /* DMA2_Stream0_IRQn interrupt configuration */
  HAL_NVIC_SetPriority(DMA2_Stream0_IRQn, 5, 0);
  HAL_NVIC_EnableIRQ(DMA2_Stream0_IRQn);
  /* DMA2_Stream1_IRQn interrupt configuration */
  HAL_NVIC_SetPriority(DMA2_Stream1_IRQn, 5, 0);
  HAL_NVIC_EnableIRQ(DMA2_Stream1_IRQn);
  /* DMA2_Stream2_IRQn interrupt configuration */
  HAL_NVIC_SetPriority(DMA2_Stream2_IRQn, 5, 0);
  HAL_NVIC_EnableIRQ(DMA2_Stream2_IRQn);
  /* DMA2_Stream6_IRQn interrupt configuration */
  HAL_NVIC_SetPriority(DMA2_Stream6_IRQn, 5, 0);
  HAL_NVIC_EnableIRQ(DMA2_Stream6_IRQn);
  /* DMA2_Stream7_IRQn interrupt configuration */
  HAL_NVIC_SetPriority(DMA2_Stream7_IRQn, 5, 0);
  HAL_NVIC_EnableIRQ(DMA2_Stream7_IRQn);

}

/** Configure pins as
        * Analog
        * Input
        * Output
        * EVENT_OUT
        * EXTI
*/
static void MX_GPIO_Init(void)
{

  GPIO_InitTypeDef GPIO_InitStruct;

  /* GPIO Ports Clock Enable */
  __HAL_RCC_GPIOC_CLK_ENABLE();
  __HAL_RCC_GPIOH_CLK_ENABLE();
  __HAL_RCC_GPIOA_CLK_ENABLE();
  __HAL_RCC_GPIOB_CLK_ENABLE();
  __HAL_RCC_GPIOD_CLK_ENABLE();

  /*Configure GPIO pin Output Level */
  HAL_GPIO_WritePin(GPIOC, LED_GSM_Pin|RELAY1_Pin|RELAY2_Pin|RELAY3_Pin
                          |RELAY4_Pin|RS485_DIR_Pin|LED_SYS_Pin, GPIO_PIN_RESET);

  /*Configure GPIO pin Output Level */
  HAL_GPIO_WritePin(SPI1_NSS_GPIO_Port, SPI1_NSS_Pin, GPIO_PIN_SET);
	if(variableNoInit.ramOk == 0xA5A5A5A5)
	{
		if(variableNoInit.lineStatus & (1<<0))
			HAL_GPIO_WritePin(RELAY1_GPIO_Port, RELAY1_Pin, GPIO_PIN_SET);
		else
			HAL_GPIO_WritePin(RELAY1_GPIO_Port, RELAY1_Pin, GPIO_PIN_RESET);
		if(variableNoInit.lineStatus & (1<<1))
			HAL_GPIO_WritePin(RELAY2_GPIO_Port, RELAY2_Pin, GPIO_PIN_SET);
		else
			HAL_GPIO_WritePin(RELAY2_GPIO_Port, RELAY2_Pin, GPIO_PIN_RESET);
		if(variableNoInit.lineStatus & (1<<2))
			HAL_GPIO_WritePin(RELAY3_GPIO_Port, RELAY3_Pin, GPIO_PIN_SET);
		else
			HAL_GPIO_WritePin(RELAY3_GPIO_Port, RELAY3_Pin, GPIO_PIN_RESET);
		if(variableNoInit.lineStatus & (1<<3))
			HAL_GPIO_WritePin(RELAY4_GPIO_Port, RELAY4_Pin, GPIO_PIN_SET);
		else
			HAL_GPIO_WritePin(RELAY4_GPIO_Port, RELAY4_Pin, GPIO_PIN_RESET);
	}
  /*Configure GPIO pin Output Level */
  HAL_GPIO_WritePin(GPIOB, RF_ON_OFF_Pin|GSM_PWR_KEY_Pin, GPIO_PIN_RESET);
	HAL_GPIO_WritePin(GPIOB, GSM_PWR_ON_Pin, GPIO_PIN_SET);
  /*Configure GPIO pins : LED_GSM_Pin RELAY1_Pin RELAY2_Pin RELAY3_Pin
                           RELAY4_Pin RS485_DIR_Pin LED_SYS_Pin */
  GPIO_InitStruct.Pin = LED_GSM_Pin|RELAY1_Pin|RELAY2_Pin|RELAY3_Pin
                          |RELAY4_Pin|RS485_DIR_Pin|LED_SYS_Pin;
  GPIO_InitStruct.Mode = GPIO_MODE_OUTPUT_PP;
  GPIO_InitStruct.Pull = GPIO_NOPULL;
  GPIO_InitStruct.Speed = GPIO_SPEED_FREQ_LOW;
  HAL_GPIO_Init(GPIOC, &GPIO_InitStruct);

  /*Configure GPIO pin : SPI1_NSS_Pin */
  GPIO_InitStruct.Pin = SPI1_NSS_Pin;
  GPIO_InitStruct.Mode = GPIO_MODE_OUTPUT_PP;
  GPIO_InitStruct.Pull = GPIO_NOPULL;
  GPIO_InitStruct.Speed = GPIO_SPEED_FREQ_VERY_HIGH;
  HAL_GPIO_Init(SPI1_NSS_GPIO_Port, &GPIO_InitStruct);

  /*Configure GPIO pins : L3_DECT_Pin P_GOOD_Pin L1_DECT_Pin L2_DECT_Pin */
  GPIO_InitStruct.Pin = L3_DECT_Pin|P_GOOD_Pin|L1_DECT_Pin|L2_DECT_Pin;
  GPIO_InitStruct.Mode = GPIO_MODE_INPUT;
  GPIO_InitStruct.Pull = GPIO_NOPULL;
  HAL_GPIO_Init(GPIOB, &GPIO_InitStruct);

  /*Configure GPIO pins : RF_ON_OFF_Pin GSM_PWR_KEY_Pin GSM_PWR_ON_Pin CHARGE_EN_Pin */
  GPIO_InitStruct.Pin = RF_ON_OFF_Pin|GSM_PWR_KEY_Pin|GSM_PWR_ON_Pin|CHARGE_EN_Pin;
  GPIO_InitStruct.Mode = GPIO_MODE_OUTPUT_PP;
  GPIO_InitStruct.Pull = GPIO_NOPULL;
  GPIO_InitStruct.Speed = GPIO_SPEED_FREQ_LOW;
  HAL_GPIO_Init(GPIOB, &GPIO_InitStruct);

  /*Configure GPIO pin : GSM_RI_Pin */
  GPIO_InitStruct.Pin = GSM_RI_Pin;
  GPIO_InitStruct.Mode = GPIO_MODE_IT_FALLING;
  GPIO_InitStruct.Pull = GPIO_PULLUP;
  HAL_GPIO_Init(GSM_RI_GPIO_Port, &GPIO_InitStruct);

  /*Configure GPIO pins : SWITCH1_Pin INPUT1_Pin INPUT2_Pin INPUT3_Pin
                           INPUT4_Pin */
  GPIO_InitStruct.Pin = SWITCH1_Pin|INPUT1_Pin|INPUT2_Pin|INPUT3_Pin
                          |INPUT4_Pin;
  GPIO_InitStruct.Mode = GPIO_MODE_INPUT;
  GPIO_InitStruct.Pull = GPIO_NOPULL;
  HAL_GPIO_Init(GPIOD, &GPIO_InitStruct);

  /* EXTI interrupt init*/
  HAL_NVIC_SetPriority(EXTI9_5_IRQn, 5, 0);
  HAL_NVIC_EnableIRQ(EXTI9_5_IRQn);

}

/* USER CODE BEGIN 4 */
extern void Ampm_SetRinging(void);
void HAL_GPIO_EXTI_Callback(uint16_t GPIO_Pin)
{
  /* Prevent unused argument(s) compilation warning */
  UNUSED(GPIO_Pin);
  /* NOTE: This function Should not be modified, when the callback is needed,
           the HAL_GPIO_EXTI_Callback could be implemented in the user file
   */
	if(GPIO_Pin == GPIO_PIN_8)
	{
		Ampm_SetRinging();
	}

}

uint32_t rtcCallbackCnt = 0;
extern void Alarm_Callback(void);
void HAL_RTC_AlarmAEventCallback(RTC_HandleTypeDef *hrtc)
{
  /* Prevent unused argument(s) compilation warning */
  UNUSED(hrtc);
  /* NOTE : This function Should not be modified, when the callback is needed,
            the HAL_RTC_AlarmAEventCallback could be implemented in the user file
   */
	rtcCallbackCnt++;
	Alarm_Callback();
}

/* USER CODE END 4 */

/* StartDefaultTask function */
void StartDefaultTask(void const * argument)
{

  /* USER CODE BEGIN 5 */
	//HAL_GPIO_WritePin(LED_SYS_GPIO_Port,LED_SYS_Pin, GPIO_PIN_SET);
	//HAL_GPIO_WritePin(LED_GSM_GPIO_Port,LED_GSM_Pin, GPIO_PIN_SET);
  /* Infinite loop */
  for(;;)
  {
		vSmartLightMainTask();
  }
  /* USER CODE END 5 */
}

void HAL_TIM_PeriodElapsedCallback(TIM_HandleTypeDef *htim)
{
/* USER CODE BEGIN Callback 0 */
	static uint32_t tim_cnt = 0;
	uint8_t c;
	tim_cnt++;
	IWDG->KR = ((uint16_t)0xAAAA);
	SysWatchdog();
	//HAL_GPIO_ReadPin(SWITCH1_GPIO_Port,SWITCH1_Pin);
	if(tim_cnt % 10 == 0)
	{
		CtrLed(10);
		if(USART1_IsOk())
		{
			while(mUSART1_GetChar(&c) == 0)
			{
				COMM_PutcRx(c);
				if(Ampm_GsmGetPhase() != AMPM_GSM_MAIN_DATACALL_PHASE)
				{
					AT_ComnandParser(c);
				}
			}
		}
	}
	if(tim_cnt % 1000 == 0)
		life_span++;
/* USER CODE END Callback 0 */
  if (htim->Instance == TIM1) {
    HAL_IncTick();
  }
}

void _Error_Handler(char * file, int line)
{
  while(1)
  {
  }
}

/************************ (C) COPYRIGHT STMicroelectronics *****END OF FILE****/

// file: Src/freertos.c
/**
  ******************************************************************************
  * File Name          : freertos.c
  * Description        : Code for freertos applications
  ******************************************************************************
  * This notice applies to any and all portions of this file
  * that are not between comment pairs USER CODE BEGIN and
  * USER CODE END. Other portions of this file, whether
  * inserted by the user or by software development tools
  * are owned by their respective copyright owners.
  *
  * Copyright (c) 2018 STMicroelectronics International N.V.
  * All rights reserved.
  *
  * Redistribution and use in source and binary forms, with or without
  * modification, are permitted, provided that the following conditions are met:
  *
  * 1. Redistribution of source code must retain the above copyright notice,
  *    this list of conditions and the following disclaimer.
  * 2. Redistributions in binary form must reproduce the above copyright notice,
  *    this list of conditions and the following disclaimer in the documentation
  *    and/or other materials provided with the distribution.
  * 3. Neither the name of STMicroelectronics nor the names of other
  *    contributors to this software may be used to endorse or promote products
  *    derived from this software without specific written permission.
  * 4. This software, including modifications and/or derivative works of this
  *    software, must execute solely and exclusively on microcontroller or
  *    microprocessor devices manufactured by or for STMicroelectronics.
  * 5. Redistribution and use of this software other than as permitted under
  *    this license is void and will automatically terminate your rights under
  *    this license.
  *
  * THIS SOFTWARE IS PROVIDED BY STMICROELECTRONICS AND CONTRIBUTORS "AS IS"
  * AND ANY EXPRESS, IMPLIED OR STATUTORY WARRANTIES, INCLUDING, BUT NOT
  * LIMITED TO, THE IMPLIED WARRANTIES OF MERCHANTABILITY, FITNESS FOR A
  * PARTICULAR PURPOSE AND NON-INFRINGEMENT OF THIRD PARTY INTELLECTUAL PROPERTY
  * RIGHTS ARE DISCLAIMED TO THE FULLEST EXTENT PERMITTED BY LAW. IN NO EVENT
  * SHALL STMICROELECTRONICS OR CONTRIBUTORS BE LIABLE FOR ANY DIRECT, INDIRECT,
  * INCIDENTAL, SPECIAL, EXEMPLARY, OR CONSEQUENTIAL DAMAGES (INCLUDING, BUT NOT
  * LIMITED TO, PROCUREMENT OF SUBSTITUTE GOODS OR SERVICES; LOSS OF USE, DATA,
  * OR PROFITS; OR BUSINESS INTERRUPTION) HOWEVER CAUSED AND ON ANY THEORY OF
  * LIABILITY, WHETHER IN CONTRACT, STRICT LIABILITY, OR TORT (INCLUDING
  * NEGLIGENCE OR OTHERWISE) ARISING IN ANY WAY OUT OF THE USE OF THIS SOFTWARE,
  * EVEN IF ADVISED OF THE POSSIBILITY OF SUCH DAMAGE.
  *
  ******************************************************************************
  */

#include "FreeRTOS.h"
#include "task.h"

/* Hook prototypes */
void configureTimerForRunTimeStats(void);
unsigned long getRunTimeCounterValue(void);
void vApplicationIdleHook(void);
void vApplicationTickHook(void);
void vApplicationStackOverflowHook(xTaskHandle xTask, signed char *pcTaskName);
void vApplicationMallocFailedHook(void);

/* USER CODE BEGIN 1 */
/* Functions needed when configGENERATE_RUN_TIME_STATS is on */
__weak void configureTimerForRunTimeStats(void)
{

}

__weak unsigned long getRunTimeCounterValue(void)
{
return 0;
}
/* USER CODE END 1 */

/* USER CODE BEGIN 2 */
__weak void vApplicationIdleHook( void )
{
   /* vApplicationIdleHook() will only be called if configUSE_IDLE_HOOK is set
   to 1 in FreeRTOSConfig.h. It will be called on each iteration of the idle
   task. It is essential that code added to this hook function never attempts
   to block in any way (for example, call xQueueReceive() with a block time
   specified, or call vTaskDelay()). If the application makes use of the
   vTaskDelete() API function (as this demo application does) then it is also
   important that vApplicationIdleHook() is permitted to return to its calling
   function, because it is the responsibility of the idle task to clean up
   memory allocated by the kernel to any task that has since been deleted. */
}
/* USER CODE END 2 */

/* USER CODE BEGIN 3 */
__weak void vApplicationTickHook( void )
{
   /* This function will be called by each tick interrupt if
   configUSE_TICK_HOOK is set to 1 in FreeRTOSConfig.h. User code can be
   added here, but the tick hook is called from an interrupt context, so
   code must not attempt to block, and only the interrupt safe FreeRTOS API
   functions can be used (those that end in FromISR()). */
}
/* USER CODE END 3 */

/* USER CODE BEGIN 4 */
__weak void vApplicationStackOverflowHook(xTaskHandle xTask, signed char *pcTaskName)
{
   /* Run time stack overflow checking is performed if
   configCHECK_FOR_STACK_OVERFLOW is defined to 1 or 2. This hook function is
   called if a stack overflow is detected. */
}
/* USER CODE END 4 */

/* USER CODE BEGIN 5 */
__weak void vApplicationMallocFailedHook(void)
{
   /* vApplicationMallocFailedHook() will only be called if
   configUSE_MALLOC_FAILED_HOOK is set to 1 in FreeRTOSConfig.h. It is a hook
   function that will get called if a call to pvPortMalloc() fails.
   pvPortMalloc() is called internally by the kernel whenever a task, queue,
   timer or semaphore is created. It is also called by various parts of the
   demo application. If heap_1.c or heap_2.c are used, then the size of the
   heap available to pvPortMalloc() is defined by configTOTAL_HEAP_SIZE in
   FreeRTOSConfig.h, and the xPortGetFreeHeapSize() API function can be used
   to query the size of free heap space that remains (although it does not
   provide information on how the remaining heap might be fragmented). */
}
/* USER CODE END 5 */

/************************ (C) COPYRIGHT STMicroelectronics *****END OF FILE****/
